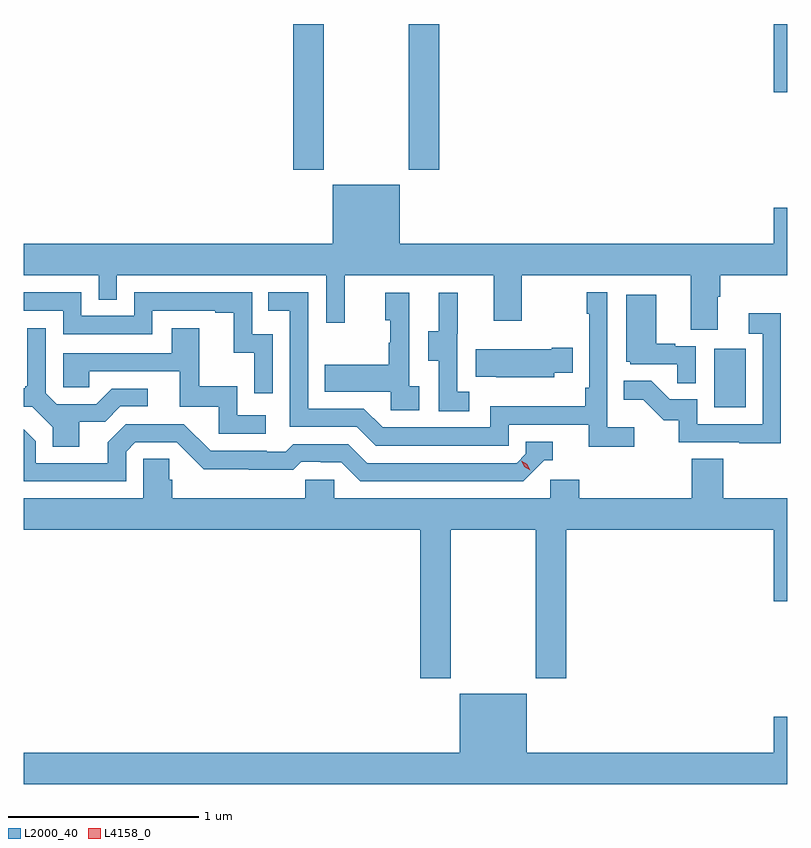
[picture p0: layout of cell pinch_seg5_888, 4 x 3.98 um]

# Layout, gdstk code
import gdstk
lib = gdstk.Library(unit=1e-6, precision=1e-09)
def R(c, l, rs):  # rectangles x0, y0, x1, y1
    for r in rs: c.add(gdstk.rectangle(r[:2], r[2:], *l))
def P(c, l, *ps):  # polygons
    for p in ps: c.add(gdstk.Polygon(p, *l))
L2000_40 = (2000, 40)
L4158_0 = (4158, 0)

pinch_seg5_888 = lib.new_cell('pinch_seg5_888')
R(pinch_seg5_888, L2000_40, [(824.036,893.364,824.2,893.671), (821.831,894.609,821.991,895.372), (822.436,894.609,822.596,895.372), (824.348,895.014,824.419,895.372)])
P(pinch_seg5_888, L2000_40, [(824.053,893.944),(824.066,893.944),(824.066,894.056),(824.419,894.056),(824.419,894.409),(824.348,894.409),(824.348,894.22),(822.388,894.22),(822.388,894.529),(822.038,894.529),(822.038,894.22),(820.419,894.22),(820.419,894.056),(820.812,894.056),(820.812,893.929),(820.908,893.929),(820.908,894.056),(822.003,894.056),(822.003,893.808),(822.101,893.808),(822.101,894.056),(822.881,894.056),(822.881,893.817),(823.029,893.817),(823.029,894.056),(823.913,894.056),(823.913,893.77),(824.053,893.77)],
  [(823.618,893.26),(823.476,893.26),(823.476,893.968),(823.368,893.968),(823.368,893.855),(823.38,893.855),(823.38,893.467),(823.36,893.467),(823.36,893.371),(822.864,893.371),(822.864,893.259),(822.3,893.259),(822.201,893.358),(821.91,893.358),(821.91,893.967),(821.701,893.967),(821.701,893.871),(821.814,893.871),(821.814,893.262),(822.164,893.262),(822.263,893.163),(822.96,893.163),(822.96,893.274),(823.379,893.274),(823.379,893.158),(823.618,893.158)],
  [(821.724,893.748),(821.616,893.748),(821.616,893.967),(820.998,893.967),(820.998,893.844),(820.722,893.844),(820.722,893.967),(820.419,893.967),(820.419,893.871),(820.626,893.871),(820.626,893.748),(821.094,893.748),(821.094,893.871),(821.423,893.871),(821.423,893.859),(821.519,893.859),(821.519,893.651),(821.628,893.651),(821.628,893.439),(821.724,893.439)],
  [(822.49,893.474),(822.438,893.474),(822.438,893.965),(822.314,893.965),(822.314,893.82),(822.34,893.82),(822.34,893.702),(822.33,893.702),(822.33,893.587),(821.995,893.587),(821.995,893.447),(822.342,893.447),(822.342,893.349),(822.49,893.349)],
  [(822.754,893.447),(822.69,893.447),(822.69,893.751),(822.692,893.751),(822.692,893.965),(822.593,893.965),(822.593,893.763),(822.539,893.763),(822.539,893.608),(822.594,893.608),(822.594,893.344),(822.754,893.344)],
  [(823.938,893.685),(823.832,893.685),(823.832,893.698),(823.732,893.698),(823.732,893.953),(823.574,893.953),(823.574,893.604),(823.596,893.604),(823.596,893.589),(823.843,893.589),(823.843,893.491),(823.938,893.491)],
  [(824.385,893.857),(824.217,893.857),(824.217,893.751),(824.289,893.751),(824.289,893.277),(823.947,893.277),(823.947,893.406),(823.803,893.406),(823.705,893.504),(823.561,893.504),(823.561,893.405),(823.665,893.405),(823.772,893.298),(823.849,893.298),(823.849,893.181),(824.167,893.181),(824.167,893.176),(824.385,893.176)],
  [(821.686,893.322),(821.538,893.322),(821.538,893.476),(821.339,893.476),(821.339,893.779),(821.195,893.779),(821.195,893.649),(820.626,893.649),(820.626,893.469),(820.763,893.469),(820.763,893.553),(821.237,893.553),(821.237,893.367),(821.442,893.367),(821.442,893.226),(821.686,893.226)],
  [(820.711,893.29),(820.846,893.29),(820.926,893.37),(821.068,893.37),(821.068,893.463),(820.88,893.463),(820.799,893.382),(820.593,893.382),(820.536,893.439),(820.536,893.779),(820.439,893.779),(820.439,893.476),(820.428,893.476),(820.428,893.464),(820.419,893.464),(820.419,893.367),(820.464,893.367),(820.571,893.26),(820.571,893.158),(820.711,893.158)],
  [(823.197,893.546),(823.295,893.546),(823.295,893.676),(823.184,893.676),(823.184,893.668),(822.787,893.668),(822.787,893.525),(822.895,893.525),(822.895,893.522),(823.197,893.522)],
  [(820.956,893.133),(821.004,893.181),(821.22,893.181),(821.362,893.039),(821.598,893.039),(821.598,893.037),(821.831,893.037),(821.873,893.079),(821.976,893.079),(821.976,893.076),(822.083,893.076),(822.182,892.977),(823.035,892.977),(823.146,893.088),(823.189,893.088),(823.189,893.184),(823.05,893.184),(823.05,893.121),(823.002,893.073),(822.219,893.073),(822.12,893.172),(821.831,893.172),(821.792,893.133),(821.693,893.133),(821.693,893.136),(821.4,893.136),(821.259,893.277),(820.953,893.277),(820.859,893.183),(820.859,893.073),(820.482,893.073),(820.482,893.187),(820.419,893.25),(820.419,892.977),(820.956,892.977)],
  [(822.657,892.724),(823.102,892.724),(823.102,891.945),(823.262,891.945),(823.262,892.724),(824.348,892.724),(824.348,892.35),(824.419,892.35),(824.419,892.888),(824.084,892.888),(824.084,893.096),(823.919,893.096),(823.919,892.888),(823.328,892.888),(823.328,892.986),(823.176,892.986),(823.176,892.888),(822.045,892.888),(822.045,892.986),(821.895,892.986),(821.895,892.888),(821.198,892.888),(821.198,892.986),(821.183,892.986),(821.183,893.096),(821.046,893.096),(821.046,892.888),(820.419,892.888),(820.419,892.724),(822.497,892.724),(822.497,891.945),(822.657,891.945)],
  [(824.419,891.745),(824.348,891.745),(824.348,891.556),(823.054,891.556),(823.054,891.865),(822.704,891.865),(822.704,891.556),(820.419,891.556),(820.419,891.392),(824.419,891.392)])
P(pinch_seg5_888, L4158_0, [(823.072,893.034),(823.041,893.053),(823.024,893.085),(823.024,893.085),(823.025,893.085),(823.056,893.066),(823.072,893.034),(823.072,893.034)])

lib.write_gds('pinch_seg5_888.gds')
